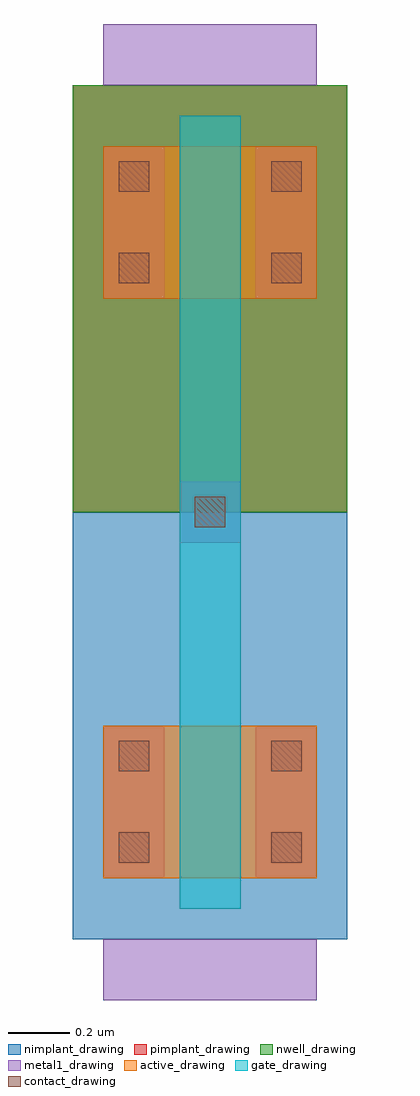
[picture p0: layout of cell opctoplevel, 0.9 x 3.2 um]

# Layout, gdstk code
import gdstk
lib = gdstk.Library(unit=1e-6, precision=1e-09)
def R(c, l, rs):  # rectangles x0, y0, x1, y1
    for r in rs: c.add(gdstk.rectangle(r[:2], r[2:], *l))
active_drawing = (1, 0)
nwell_drawing = (3, 0)
pimplant_drawing = (4, 0)
nimplant_drawing = (5, 0)
gate_drawing = (6, 0)
contact_drawing = (7, 0)
metal1_drawing = (8, 0)

opctoplevel = lib.new_cell('opctoplevel')
R(opctoplevel, active_drawing, [(-0.25,0,0.45,0.5), (-0.25,1.9,0.45,2.4)])
R(opctoplevel, nwell_drawing, [(-0.35,1.2,0.55,2.6)])
R(opctoplevel, pimplant_drawing, [(-0.35,1.2,0.55,2.6)])
R(opctoplevel, nimplant_drawing, [(-0.35,-0.2,0.55,1.2)])
R(opctoplevel, gate_drawing, [(0,-0.1,0.2,1.3), (0,1.2,0.2,2.5)])
R(opctoplevel, contact_drawing, [(-0.2,0.05,-0.1,0.15), (0.3,0.05,0.4,0.15), (-0.2,0.35,-0.1,0.45), (0.3,0.35,0.4,0.45), (0.05,1.15,0.15,1.25), (-0.2,1.95,-0.1,2.05), (0.3,1.95,0.4,2.05), (-0.2,2.25,-0.1,2.35), (0.3,2.25,0.4,2.35)])
R(opctoplevel, metal1_drawing, [(-0.25,-0.4,0.45,-0.2), (-0.25,0,-0.05,0.5), (0.25,0,0.45,0.5), (0,1.1,0.2,1.3), (-0.25,1.9,-0.05,2.4), (0.25,1.9,0.45,2.4), (-0.25,2.6,0.45,2.8)])

lib.write_gds('opctoplevel.gds')
